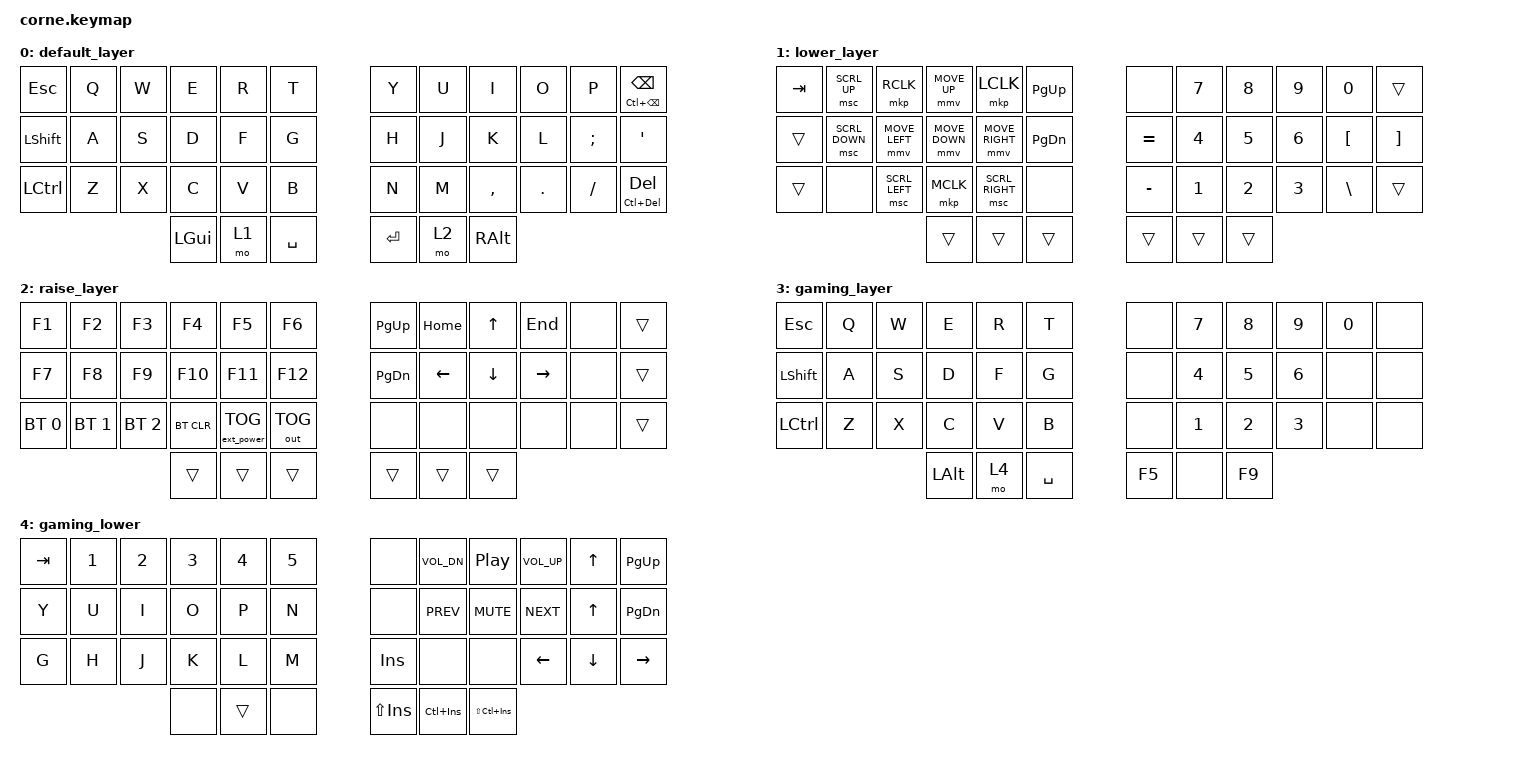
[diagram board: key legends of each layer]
/*
 * Copyright (c) 2020 The ZMK Contributors
 *
 * SPDX-License-Identifier: MIT
 */

#include <behaviors.dtsi>
#include <dt-bindings/zmk/bt.h>
#include <dt-bindings/zmk/ext_power.h>
#include <dt-bindings/zmk/keys.h>
#include <dt-bindings/zmk/outputs.h>
#include <dt-bindings/zmk/pointing.h>

/ {
    combos {
        compatible = "zmk,combos";

        gaming_combo {
            bindings = <&tog 3>;
            key-positions = <39 40 41>;
            layers = <0>;
        };

        play {
            bindings = <&kp C_PLAY_PAUSE>;
            key-positions = <17 16 15>;
            layers = <0>;
        };

        next {
            bindings = <&kp C_NEXT>;
            key-positions = <29 28>;
            layers = <0>;
        };

        prev {
            bindings = <&kp C_PREVIOUS>;
            key-positions = <27 28>;
            require-prior-idle-ms = <0>;
            layers = <0>;
        };

        vol_raise {
            bindings = <&kp C_VOLUME_UP>;
            key-positions = <17 16>;
            layers = <0>;
        };

        vol_decrease {
            bindings = <&kp C_VOLUME_DOWN>;
            key-positions = <16 15>;
            layers = <0>;
        };
    };

    keymap {
        compatible = "zmk,keymap";

        default_layer {
            bindings = <
&kp ESCAPE  &kp Q  &kp W  &kp E     &kp R  &kp T        &kp Y    &kp U  &kp I      &kp O    &kp P     &mt LC(BSPC) BACKSPACE
&kp LSHFT   &kp A  &kp S  &kp D     &kp F  &kp G        &kp H    &kp J  &kp K      &kp L    &kp SEMI  &kp SQT
&kp LCTRL   &kp Z  &kp X  &kp C     &kp V  &kp B        &kp N    &kp M  &kp COMMA  &kp DOT  &kp FSLH  &mt LC(DELETE) DELETE
                          &kp LGUI  &mo 1  &kp SPACE    &kp RET  &mo 2  &kp RALT
            >;
        };

        lower_layer {
            bindings = <
&kp TAB  &msc SCRL_UP    &mkp RCLK       &mmv MOVE_UP    &mkp LCLK        &kp PAGE_UP      &none      &kp N7  &kp N8  &kp N9  &kp N0            &trans
&trans   &msc SCRL_DOWN  &mmv MOVE_LEFT  &mmv MOVE_DOWN  &mmv MOVE_RIGHT  &kp PAGE_DOWN    &kp EQUAL  &kp N4  &kp N5  &kp N6  &kp LEFT_BRACKET  &kp RBKT
&trans   &none           &msc SCRL_LEFT  &mkp MCLK       &msc SCRL_RIGHT  &none            &kp MINUS  &kp N1  &kp N2  &kp N3  &kp BACKSLASH     &trans
                                         &trans          &trans           &trans           &trans     &trans  &trans
            >;
        };

        raise_layer {
            bindings = <
&kp F1        &kp F2        &kp F3        &kp F4      &kp F5             &kp F6          &kp PG_UP  &kp HOME  &kp UP    &kp END    &none  &trans
&kp F7        &kp F8        &kp F9        &kp F10     &kp F11            &kp F12         &kp PG_DN  &kp LEFT  &kp DOWN  &kp RIGHT  &none  &trans
&bt BT_SEL 0  &bt BT_SEL 1  &bt BT_SEL 2  &bt BT_CLR  &ext_power EP_TOG  &out OUT_TOG    &none      &none     &none     &none      &none  &trans
                                          &trans      &trans             &trans          &trans     &trans    &trans
            >;
        };

        gaming_layer {
            bindings = <
&kp ESC    &kp Q  &kp W  &kp E     &kp R  &kp T        &none   &kp N7  &kp N8  &kp N9  &kp N0  &none
&kp LSHFT  &kp A  &kp S  &kp D     &kp F  &kp G        &none   &kp N4  &kp N5  &kp N6  &none   &none
&kp LCTRL  &kp Z  &kp X  &kp C     &kp V  &kp B        &none   &kp N1  &kp N2  &kp N3  &none   &none
                         &kp LALT  &mo 4  &kp SPACE    &kp F5  &none   &kp F9
            >;
        };

        gaming_lower {
            bindings = <
&kp TAB  &kp N1  &kp N2  &kp N3  &kp N4  &kp N5    &none           &kp C_VOL_DN    &kp C_PLAY_PAUSE    &kp C_VOLUME_UP  &kp UP    &kp PG_UP
&kp Y    &kp U   &kp I   &kp O   &kp P   &kp N     &none           &kp C_PREV      &kp K_MUTE          &kp C_NEXT       &kp UP    &kp PG_DN
&kp G    &kp H   &kp J   &kp K   &kp L   &kp M     &kp INSERT      &none           &none               &kp LEFT         &kp DOWN  &kp RIGHT
                         &none   &trans  &none     &kp LS(INSERT)  &kp LC(INSERT)  &kp LS(LC(INSERT))
            >;
        };
    };

    conditional_layers { compatible = "zmk,conditional-layers"; };
};
